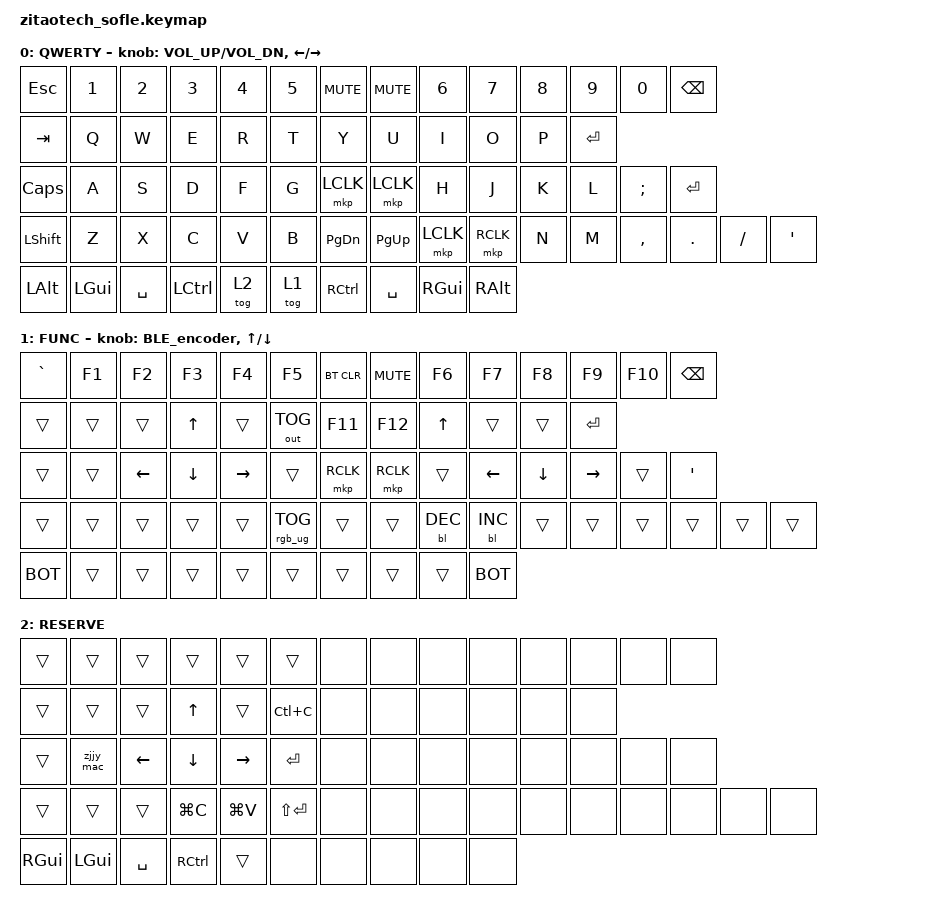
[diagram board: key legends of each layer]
/*
 * Copyright (c) 2025 ZitaoTech
 *
 * SPDX-License-Identifier: MIT
 */

#include <dt-bindings/zmk/mouse.h>
#include <behaviors.dtsi>
#include <dt-bindings/zmk/backlight.h>
#include <dt-bindings/zmk/bt.h>
#include <dt-bindings/zmk/keys.h>
#include <dt-bindings/zmk/outputs.h>
#include <dt-bindings/zmk/pointing.h>
#include <dt-bindings/zmk/rgb.h>

#define FUNC 1
#define RES 2
#define BOT bootloader

/ {
    behaviors {
        td0: tap_dance_0 {
            compatible = "zmk,behavior-tap-dance";
            #binding-cells = <0>;
            tapping-term-ms = <400>;
            bindings = <&mkp LCLK>, <&bt BT_CLR>;
        };
    };

    behaviors {
        hm: homerow_mods {
            compatible = "zmk,behavior-hold-tap";
            #binding-cells = <2>;
            tapping-term-ms = <500>;
            bindings = <&kp &kp>;
        };
    };

    behaviors {
        sp_sc: behavior_spacescroll {
            compatible = "zmk,behavior-hold-tap";
            #binding-cells = <2>;
            flavor = "tap-preferred";     /* 单击优先 */
            tapping-term-ms = <200>;       /* 长按阈值 */
            bindings = <&none &kp>;        /* hold=none, tap=space */
        };
    };

    behaviors {
        BLE_encoder: BLE_encoder {
            compatible = "zmk,behavior-sensor-rotate";
            #sensor-binding-cells = <0>;
            bindings = <&bt BT_NXT>, <&bt BT_PRV>;
        };
    };

    macros {
        shjh_mac: shjy_mac {
            compatible = "zmk,behavior-macro";
            #binding-cells = <0>;
            bindings = <&kp S &kp H &kp J &kp H &kp SPACE &kp ENTER>;
            label = "SHJY_MAC";
        };

        qrrt_mac: qrrt_mac {
            compatible = "zmk,behavior-macro";
            #binding-cells = <0>;
            bindings = <&kp Q &kp R &kp R &kp T &kp SPACE &kp RET>;
            label = "QRRT_MAC";
        };

        qrjh_mac: qrjh_mac {
            compatible = "zmk,behavior-macro";
            #binding-cells = <0>;
            bindings = <&kp Q &kp R &kp J &kp H &kp SPACE &kp RET>;
            label = "QRJH_MAC";
        };

        dqjy_mac: dqjy_mac {
            compatible = "zmk,behavior-macro";
            #binding-cells = <0>;
            bindings = <&kp D &kp Q &kp J &kp Y &kp SPACE &kp RET>;
            label = "DQJY_MAC";
        };

        zjjy_mac: zjjy_mac {
            compatible = "zmk,behavior-macro";
            #binding-cells = <0>;
            bindings = <&none &kp Z &kp J &kp J &kp Y &kp SPACE &kp RET>;
            label = "ZJJY_MAC";
        };

        jdzj_mac: jdzj_mac {
            compatible = "zmk,behavior-macro";
            #binding-cells = <0>;
            bindings = <&none &kp J &kp D &kp Z &kp J &kp SPACE &kp RET>;
            label = "JDZJ_MAC";
        };
    };

    keymap {
        compatible = "zmk,keymap";

        default_layer {
            display-name = "QWERTY";
            bindings = <
&kp ESC    &kp N1    &kp N2     &kp N3     &kp N4  &kp N5  &kp C_MUTE  &kp C_MUTE  &kp N6     &kp N7     &kp N8  &kp N9     &kp N0     &kp BSPC
&kp TAB    &kp Q     &kp W      &kp E      &kp R   &kp T   &kp Y       &kp U       &kp I      &kp O      &kp P   &kp ENTER
&kp CAPS   &kp A     &kp S      &kp D      &kp F   &kp G   &mkp LCLK   &mkp LCLK   &kp H      &kp J      &kp K   &kp L      &kp SEMI   &kp ENTER
&kp LSHFT  &kp Z     &kp X      &kp C      &kp V   &kp B   &kp PG_DN   &kp PG_UP   &mkp LCLK  &mkp RCLK  &kp N   &kp M      &kp COMMA  &kp DOT    &kp FSLH  &kp SQT
&kp LALT   &kp LGUI  &kp SPACE  &kp LCTRL  &tog 2  &tog 1  &kp RCTRL   &kp SPACE   &kp RGUI   &kp RALT
            >;

            sensor-bindings = <&inc_dec_kp C_VOL_UP C_VOL_DN &inc_dec_kp LEFT RIGHT>;
        };

        func_layer {
            display-name = "FUNC";
            bindings = <
&kp GRAVE  &kp F1  &kp F2    &kp F3        &kp F4     &kp F5           &bt BT_CLR  &kp C_MUTE  &kp F6        &kp F7      &kp F8          &kp F9     &kp F10  &kp BSPC
&trans     &trans  &trans    &kp UP_ARROW  &trans     &out OUT_TOG     &kp F11     &kp F12     &kp UP_ARROW  &trans      &trans          &kp ENTER
&trans     &trans  &kp LEFT  &kp DOWN      &kp RIGHT  &trans           &mkp RCLK   &mkp RCLK   &trans        &kp LEFT    &kp DOWN_ARROW  &kp RIGHT  &trans   &kp SQT
&trans     &trans  &trans    &trans        &trans     &rgb_ug RGB_TOG  &trans      &trans      &bl BL_DEC    &bl BL_INC  &trans          &trans     &trans   &trans    &trans  &trans
&BOT       &trans  &trans    &trans        &trans     &trans           &trans      &trans      &trans        &BOT
            >;

            sensor-bindings = <&BLE_encoder &inc_dec_kp UP DOWN>;
        };

        RES_layer {
            display-name = "RESERVE";
            bindings = <
&trans    &trans     &trans     &trans          &trans     &trans         &none  &none  &none  &none  &none  &none  &none  &none
&trans    &trans     &trans     &kp UP_ARROW    &trans     &kp LC(C)      &none  &none  &none  &none  &none  &none
&trans    &zjjy_mac  &kp LEFT   &kp DOWN_ARROW  &kp RIGHT  &kp ENTER      &none  &none  &none  &none  &none  &none  &none  &none
&trans    &trans     &trans     &kp LG(C)       &kp LG(V)  &kp LS(ENTER)  &none  &none  &none  &none  &none  &none  &none  &none  &none  &none
&kp RGUI  &kp LGUI   &kp SPACE  &kp RCTRL       &trans     &none          &none  &none  &none  &none
            >;
        };
    };
};
